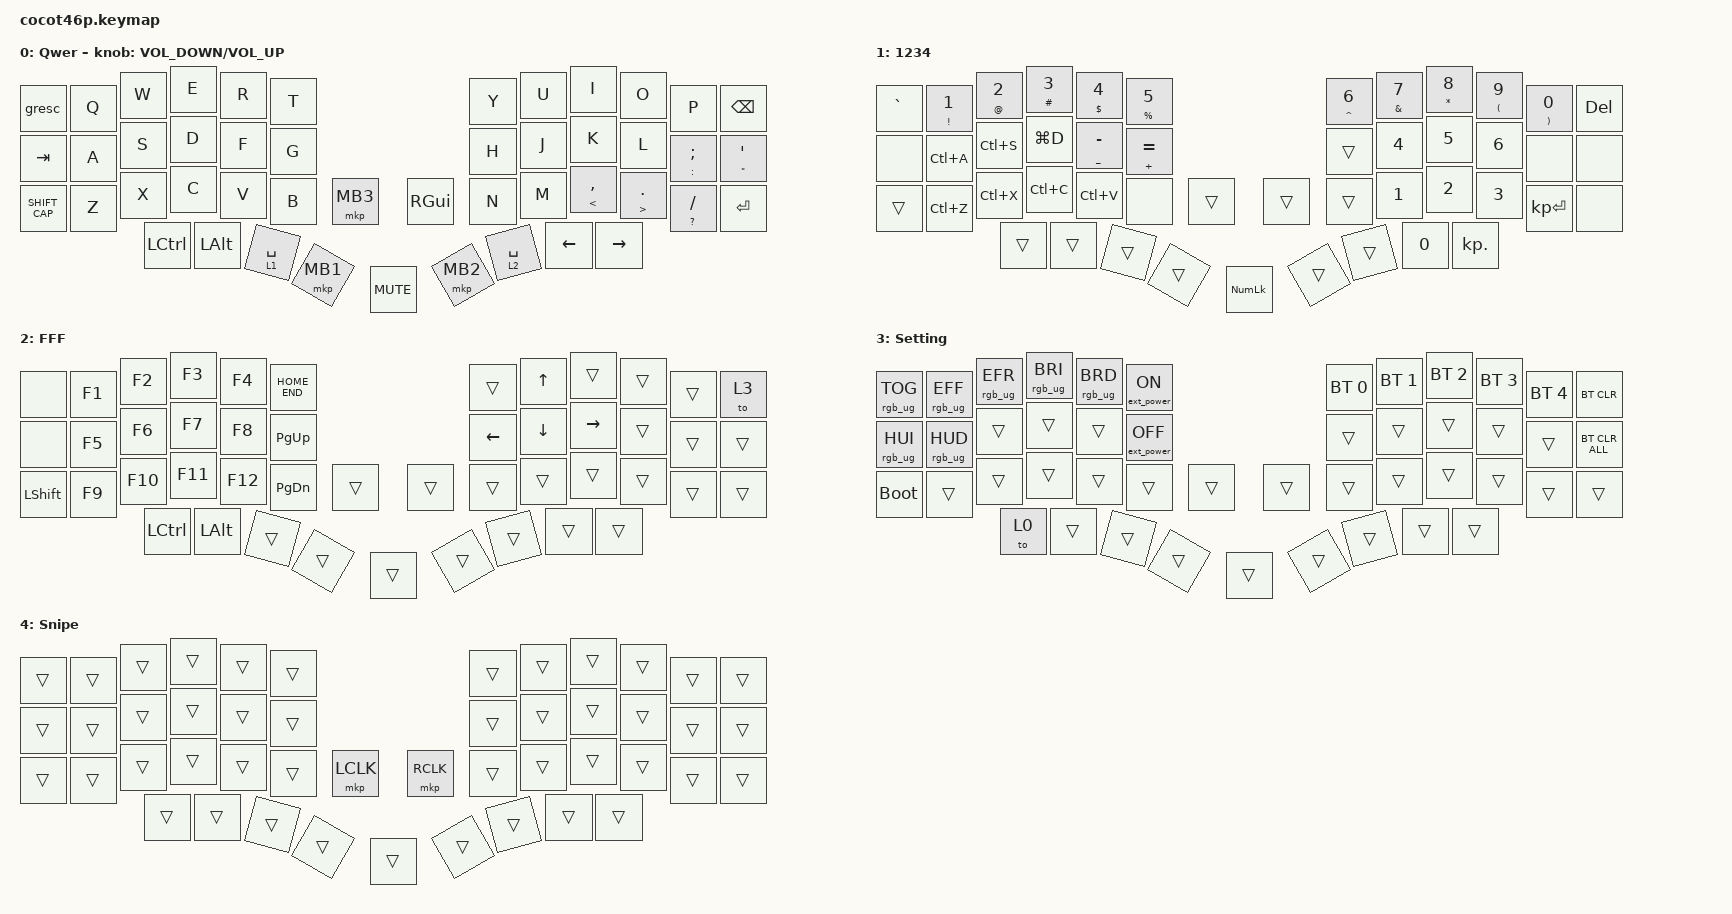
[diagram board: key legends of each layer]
/*
 * Copyright (c) 2021 The ZMK Contributors
 *
 * SPDX-License-Identifier: MIT
 */

#include <behaviors/mouse_keys.dtsi>
#include <dt-bindings/zmk/mouse.h>
#include <behaviors.dtsi>
#include <dt-bindings/zmk/bt.h>
#include <dt-bindings/zmk/ext_power.h>
#include <dt-bindings/zmk/keys.h>
#include <dt-bindings/zmk/pointing.h>
#include <dt-bindings/zmk/rgb.h>

/ {
    combos {
        compatible = "zmk,combos";

        left_bkt {
            bindings = <&kp LEFT_BRACKET>;
            key-positions = <16 15>;
            layers = <0>;
        };

        right_bkt {
            bindings = <&kp RIGHT_BRACKET>;
            key-positions = <19 20>;
            layers = <0>;
        };

        left_brace {
            bindings = <&kp LEFT_BRACE>;
            key-positions = <14 15>;
            layers = <0>;
        };

        right_brace {
            bindings = <&kp RIGHT_BRACE>;
            key-positions = <20 21>;
            layers = <0>;
        };

        left_par {
            bindings = <&kp LEFT_PARENTHESIS>;
            key-positions = <17 16>;
            layers = <0>;
        };

        right_par {
            bindings = <&kp RIGHT_PARENTHESIS>;
            key-positions = <19 18>;
            layers = <0>;
        };

        win_space {
            bindings = <&kp LG(SPACE)>;
            key-positions = <40 43>;
            layers = <0>;
        };
    };

    behaviors {
        as_l: auto_shift_n {
            compatible = "zmk,behavior-hold-tap";
            label = "AUTO_SHIFT";
            bindings = <&kp>, <&kp>;

            #binding-cells = <2>;
            tapping-term-ms = <200>;
            quick-tap-ms = <0>;
            flavor = "tap-preferred";
        };

        SHIFT_CAP: shfit_cap_tap {
            compatible = "zmk,behavior-tap-dance";
            label = "SHIFT_CAP";
            #binding-cells = <0>;
            bindings = <&kp LEFT_SHIFT>, <&kp CAPS>;
        };

        HOME_END: home_end_tap {
            compatible = "zmk,behavior-tap-dance";
            label = "HOME_END";
            #binding-cells = <0>;
            bindings = <&kp HOME>, <&kp END>;
        };

        as_s: auto_shift {
            compatible = "zmk,behavior-hold-tap";
            label = "auto_shift";
            bindings = <&kp>, <&kp>;

            #binding-cells = <2>;
            tapping-term-ms = <135>;
        };
    };

    keymap {
        compatible = "zmk,keymap";

        Qwer {
            bindings = <
&gresc      &kp Q  &kp W  &kp E      &kp R         &kp T                                 &kp Y        &kp U     &kp I                  &kp O                      &kp P                  &kp BSPC
&kp TAB     &kp A  &kp S  &kp D      &kp F         &kp G                                 &kp H        &kp J     &kp K                  &kp L                      &as_s COLON SEMICOLON  &as_s DOUBLE_QUOTES SINGLE_QUOTE
&SHIFT_CAP  &kp Z  &kp X  &kp C      &kp V         &kp B        &mkp MB3  &kp RIGHT_GUI  &kp N        &kp M     &as_s LESS_THAN COMMA  &as_s GREATER_THAN PERIOD  &as_s QUESTION SLASH   &kp ENTER
                          &kp LCTRL  &kp LEFT_ALT  &lt 1 SPACE  &mkp MB1  &mkp MB2       &lt 2 SPACE  &kp LEFT  &kp RIGHT              &kp C_MUTE
            >;

            sensor-bindings = <&inc_dec_kp C_VOLUME_DOWN C_VOLUME_UP>;
            label = "Qwer";
        };

        Lower {
            bindings = <
&kp GRAVE  &as_l EXCL NUMBER_1  &as_l AT NUMBER_2  &as_l HASH NUMBER_3  &as_l DOLLAR NUMBER_4  &as_l PERCENT N5                  &as_l CARET NUMBER_6  &as_l AMPERSAND N7  &as_l STAR N8  &as_l LEFT_PARENTHESIS N9  &as_l RIGHT_PARENTHESIS N0  &kp DELETE
&none      &kp LC(A)            &kp LC(S)          &kp LG(D)            &as_l UNDER MINUS      &as_l PLUS EQUAL                  &trans                &kp NUMBER_4        &kp N5         &kp NUMBER_6               &none                       &none
&trans     &kp LC(Z)            &kp LC(X)          &kp LC(C)            &kp LC(V)              &none             &trans  &trans  &trans                &kp NUMBER_1        &kp NUMBER_2   &kp NUMBER_3               &kp KP_ENTER                &none
                                                   &trans               &trans                 &trans            &trans  &trans  &trans                &kp N0              &kp KP_DOT     &kp KP_NUMLOCK
            >;

            label = "1234";
        };

        Raise {
            bindings = <
&none           &kp F1  &kp F2   &kp F3     &kp F4        &HOME_END                      &trans          &kp UP_ARROW    &trans           &trans  &trans  &to 3
&none           &kp F5  &kp F6   &kp F7     &kp F8        &kp PAGE_UP                    &kp LEFT_ARROW  &kp DOWN_ARROW  &kp RIGHT_ARROW  &trans  &trans  &trans
&kp LEFT_SHIFT  &kp F9  &kp F10  &kp F11    &kp F12       &kp PAGE_DOWN  &trans  &trans  &trans          &trans          &trans           &trans  &trans  &trans
                                 &kp LCTRL  &kp LEFT_ALT  &trans         &trans  &trans  &trans          &trans          &trans           &trans
            >;

            label = "FFF";
        };

        Setting {
            bindings = <
&rgb_ug RGB_TOG  &rgb_ug RGB_EFF  &rgb_ug RGB_EFR  &rgb_ug RGB_BRI  &rgb_ug RGB_BRD  &ext_power EP_ON                   &bt BT_SEL 0  &bt BT_SEL 1  &bt BT_SEL 2  &bt BT_SEL 3  &bt BT_SEL 4  &bt BT_CLR
&rgb_ug RGB_HUI  &rgb_ug RGB_HUD  &trans           &trans           &trans           &ext_power EP_OFF                  &trans        &trans        &trans        &trans        &trans        &bt BT_CLR_ALL
&bootloader      &trans           &trans           &trans           &trans           &trans             &trans  &trans  &trans        &trans        &trans        &trans        &trans        &trans
                                                   &to 0            &trans           &trans             &trans  &trans  &trans        &trans        &trans        &trans
            >;

            label = "Setting";
        };

        Snipe {
            bindings = <
&trans  &trans  &trans  &trans  &trans  &trans                        &trans  &trans  &trans  &trans  &trans  &trans
&trans  &trans  &trans  &trans  &trans  &trans                        &trans  &trans  &trans  &trans  &trans  &trans
&trans  &trans  &trans  &trans  &trans  &trans  &mkp LCLK  &mkp RCLK  &trans  &trans  &trans  &trans  &trans  &trans
                        &trans  &trans  &trans  &trans     &trans     &trans  &trans  &trans  &trans
            >;

            label = "Snipe";
        };
    };
};
